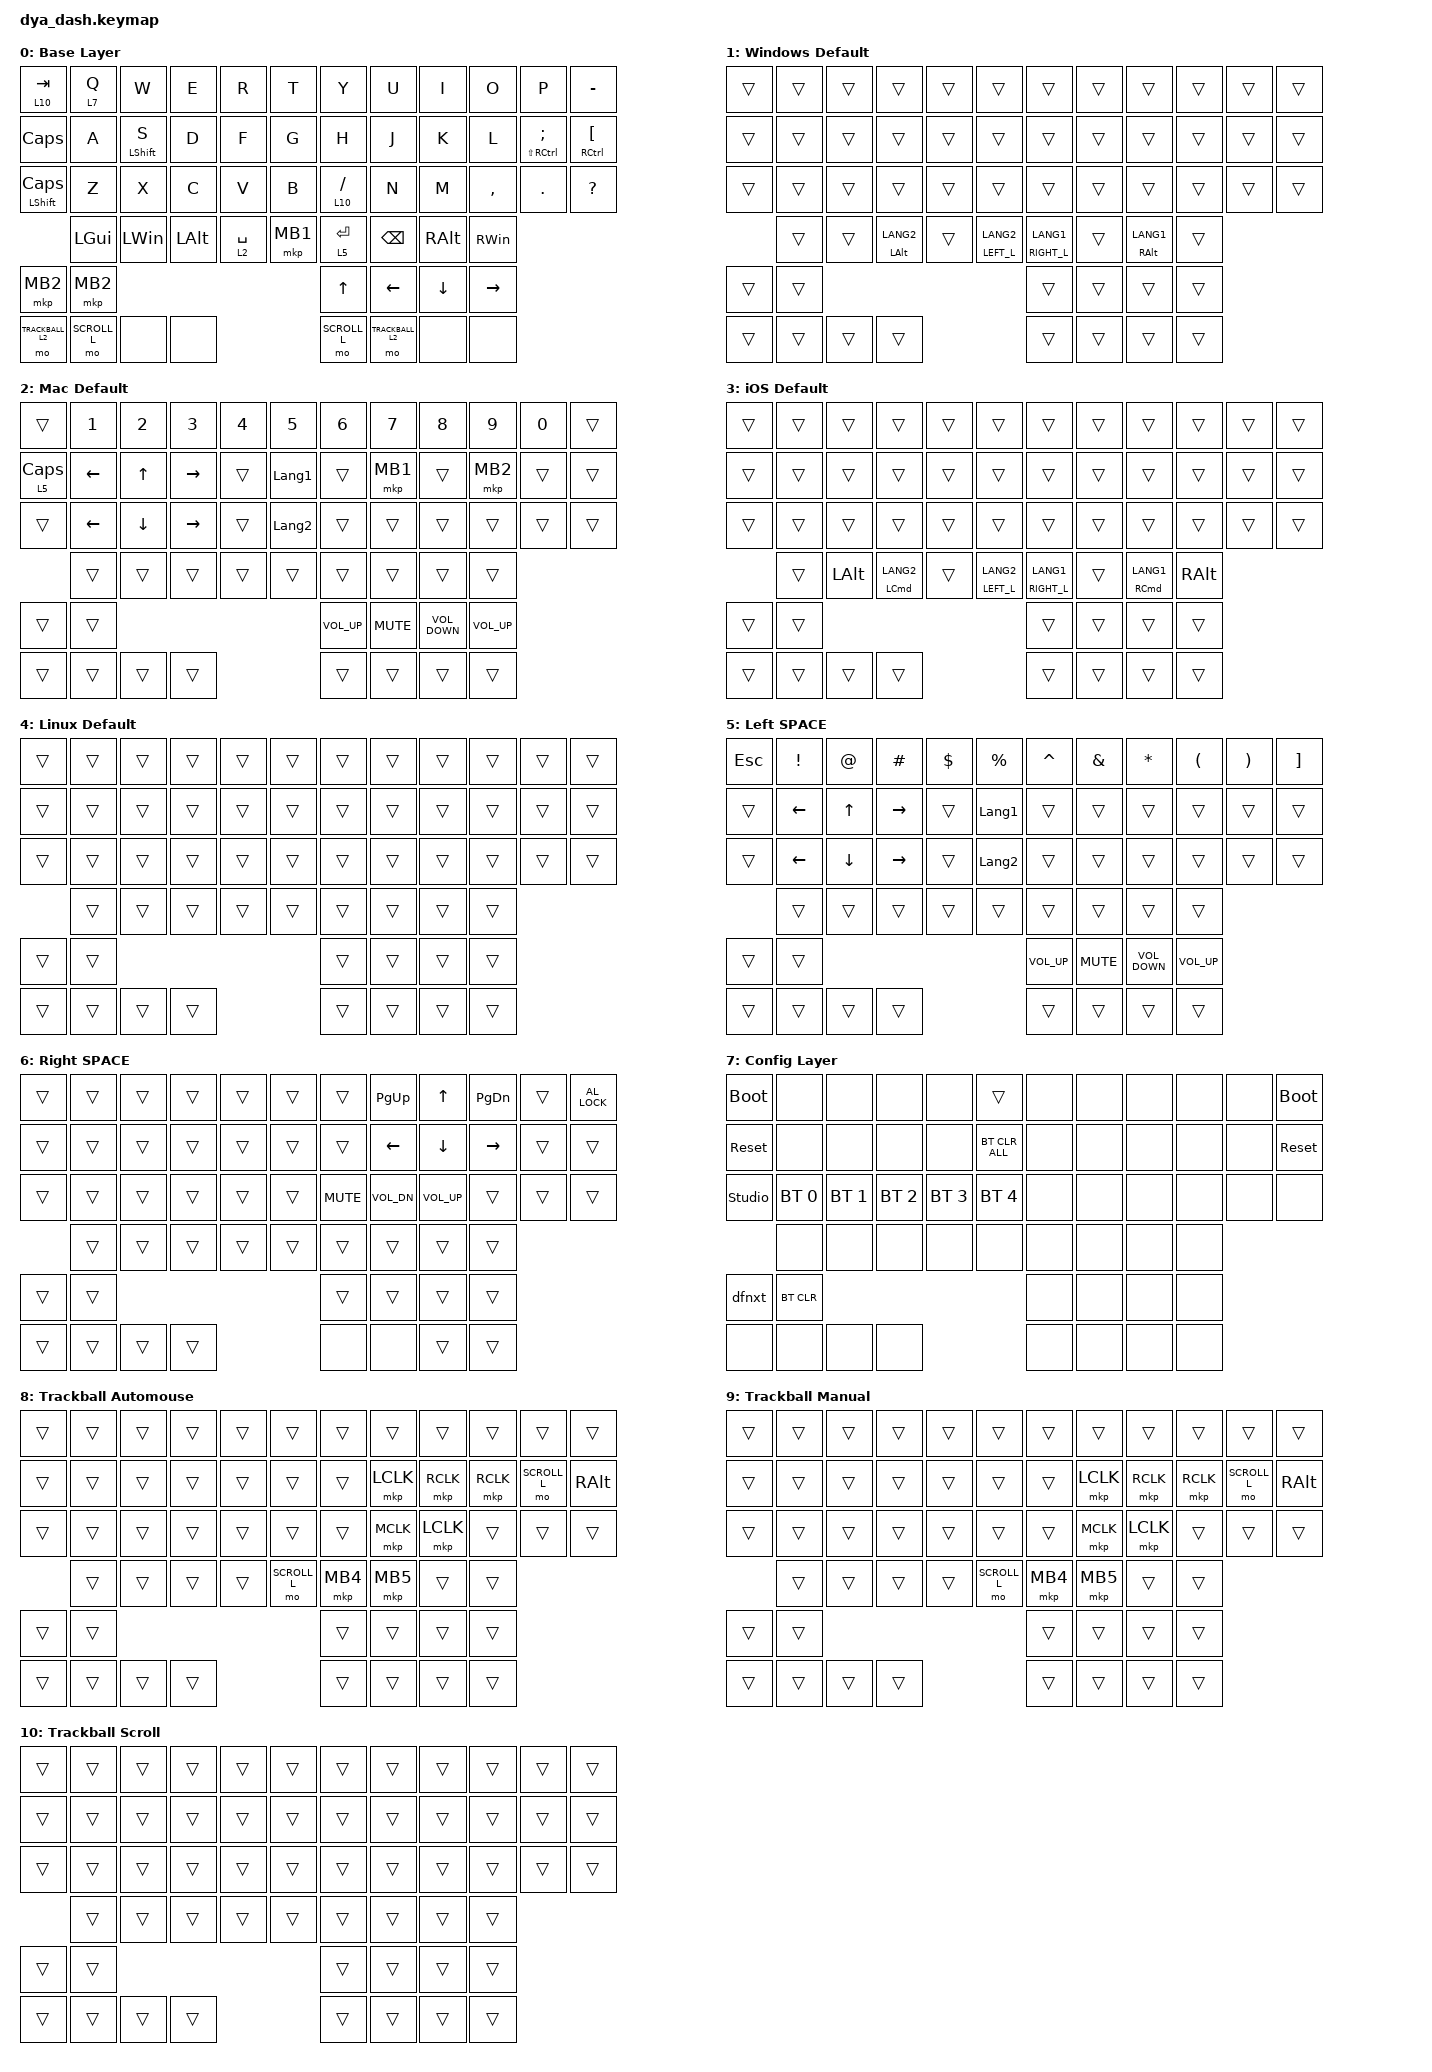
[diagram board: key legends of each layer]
#include <behaviors/mouse_move.dtsi>
#include <behaviors/animation_control.dtsi>
#include <behaviors/animation_trigger.dtsi>
#include <dt-bindings/zmk/mouse.h>
#include <dt-bindings/zmk_driver_animation/animation_control.h>
#include <dt-bindings/zmk_driver_animation/animation_trigger.h>
#include <dt-bindings/zmk_behavior_default_layer/default_layer.h>
#include <behaviors.dtsi>
#include <dt-bindings/zmk/bt.h>
#include <dt-bindings/zmk/keys.h>
#include <dt-bindings/zmk/outputs.h>
#include <dt-bindings/zmk/pointing.h>

#include <behaviors/runtime-input-processor.dtsi>

// Layer definitions

#define DEFAULT_L 0
#define WINDOWS_L 1
#define MAC_L 2
#define IOS_L 3
#define LINUX_L 4
#define LEFT_L 5
#define RIGHT_L 6
#define CONFIG_L 7
#define TRACKBALL_L 8
#define TRACKBALL_L2 9
#define SCROLL_L 10
#define EXT1_L 11
#define EXT2_L 12
#define EXT3_L 13

&mouse_runtime_input_processor {
    temp-layer-enabled;
    temp-layer = <TRACKBALL_L>;
};

&mouse_runtime_input_processor_l {
    temp-layer-enabled;
    temp-layer = <TRACKBALL_L>;
};

&scroll_runtime_input_processor {
    active-layers = <BIT(SCROLL_L)>;
};

&scroll_runtime_input_processor_l {
    active-layers = <BIT(SCROLL_L)>;
};

&trackball_r {cpi = <600>; };
&trackball_l {cpi = <600>; };

/ {
    behaviors {
        // ctrl+h as backspace

        hbackspace: h_or_ctrl_backspace {
            compatible = "zmk,behavior-mod-morph";
            #binding-cells = <0>;
            bindings = <&kp H>, <&kp BACKSPACE>;

            mods = <(MOD_LCTL)>;
        };

        // ctrl+j as enter

        jenter: j_or_ctrl_enter {
            compatible = "zmk,behavior-mod-morph";
            #binding-cells = <0>;
            bindings = <&kp J>, <&kp ENTER>;

            mods = <(MOD_LCTL)>;
        };
    };

    macros {
        // Disconnect from all once for reliable connection to selected profile.
        // ZMK automatically reconnects to current profile right after disconnection.

        out_bt_nxt: out_bt_nxt {
            compatible = "zmk,behavior-macro";
            #binding-cells = <0>;
            wait-ms = <50>;
            bindings = <&out OUT_BLE &bt BT_NXT &bt BT_DISC 0 &bt BT_DISC 1 &bt BT_DISC 2 &bt BT_DISC 3 &bt BT_DISC 4>;
        };

        // Change default layer for current profile to next layer

        dfnxt: dfnxt {
            compatible = "zmk,behavior-macro";
            #binding-cells = <0>;
            bindings = <&df DF_INC &animtrig ANM_TRG 2>;
        };
    };

    combos {
        compatible = "zmk,combos";

        // Right side's setting button shares input pin with arrow keys.
        // It works as a combo of two arrow keys.

        setting_10 {
            timeout-ms = <10>;
            key-positions = <17 16>;
            bindings = <&lt 10 SPACE>;
        };

        setting_r2 {
            timeout-ms = <10>;
            key-positions = <49>;
            bindings = <&kp C_VOL_UP>;
        };
    };

    keymap {
        compatible = "zmk,keymap";

        // template {
        //     bindings = <
        //         &trans      &trans      &trans      &trans      &trans      &trans      /**/ &trans      &trans      &trans      &trans      &trans      &trans
        //         &trans      &trans      &trans      &trans      &trans      &trans      /**/ &trans      &trans      &trans      &trans      &trans      &trans
        //         &trans      &trans      &trans      &trans      &trans      &trans      /**/ &trans      &trans      &trans      &trans      &trans      &trans
        //                     &trans      &trans      &trans      &trans      &trans      /**/ &trans      &trans      &trans      &trans
        //
        //         &trans      &trans                                                      /**/ &trans      &trans      &trans      &trans
        //         &trans      &trans      &trans      &trans                              /**/ &trans      &trans      &trans      &trans
        //     >;
        // };

        default_layer {
            display-name = "Base Layer";

            // --------------------------------------------------------------------------------------------------------------------------------------------------
            // |   TAB   |    Q    |    W    |    E    |    R    |    T       |            |    Y        |    U    |    I     |    O    |    P    |    [    |
            // |   CTRL  |    A    |    S    |    D    |    F    |    G       |            |    H        |    J    |    K     |    L    |    ;    |    '    |
            // |  SHIFT  |    Z    |    X    |    C    |    V    |    B       |            |    B        |    N    |    M     |    ,    |    .    |    /    |
            //           |  CONFIG |   WIN   |   ALT   |  SPACE  | LEFT_LAYER |            | RIGHT_LAYER |  SPACE  |   ALT    |   WIN   |
            // --------------------------------------------------------------------------------------------------------------------------------------------------
            // | BLE     |  USB    |                                                       |  left   | up      | down    | right   |
            // | touch1  | touch2  | touch3  | touch 4 |                                   | touch1  | touch2  | touch3  | touch 4 |

            bindings = <
&lt 10 TAB           &lt 7 Q       &kp W             &kp E     &kp R        &kp T     &kp Y         &kp U             &kp I     &kp O      &kp P                            &kp MINUS
&kp CAPS             &kp A         &mt LEFT_SHIFT S  &kp D     &kp F        &kp G     &kp H         &kp J             &kp K     &kp L      &mt LS(RIGHT_CONTROL) SEMICOLON  &mt RIGHT_CONTROL LEFT_BRACKET
&mt LEFT_SHIFT CLCK  &kp Z         &kp X             &kp C     &kp V        &kp B     &lt 10 SLASH  &kp N             &kp M     &kp COMMA  &kp PERIOD                       &kp QUESTION
                     &kp LGUI      &kp LWIN          &kp LALT  &lt 2 SPACE  &mkp MB1  &lt 5 ENTER   &kp BACKSPACE     &kp RALT  &kp RWIN
&mkp MB2             &mkp MB2                                                         &kp UP        &kp LEFT          &kp DOWN  &kp RIGHT
&mo TRACKBALL_L2     &mo SCROLL_L  &none             &none                            &mo SCROLL_L  &mo TRACKBALL_L2  &none     &none
            >;
        };

        windows_default_layer {
            display-name = "Windows Default";
            bindings = <
&trans  &trans  &trans  &trans          &trans  &trans            &trans             &trans  &trans          &trans  &trans  &trans
&trans  &trans  &trans  &trans          &trans  &trans            &trans             &trans  &trans          &trans  &trans  &trans
&trans  &trans  &trans  &trans          &trans  &trans            &trans             &trans  &trans          &trans  &trans  &trans
        &trans  &trans  &mt LALT LANG2  &trans  &lt LEFT_L LANG2  &lt RIGHT_L LANG1  &trans  &mt RALT LANG1  &trans
&trans  &trans                                                    &trans             &trans  &trans          &trans
&trans  &trans  &trans  &trans                                    &trans             &trans  &trans          &trans
            >;
        };

        mac_default_layer {
            display-name = "Mac Default";
            bindings = <
&trans      &kp NUMBER_1    &kp NUMBER_2  &kp NUMBER_3     &kp NUMBER_4  &kp N5          &kp NUMBER_6     &kp N7      &kp N8             &kp N9           &kp N0  &trans
&lt 5 CLCK  &kp LEFT_ARROW  &kp UP        &kp RIGHT        &trans        &kp LANGUAGE_1  &trans           &mkp MB1    &trans             &mkp MB2         &trans  &trans
&trans      &kp LEFT        &kp DOWN      &kp RIGHT_ARROW  &trans        &kp LANGUAGE_2  &trans           &trans      &trans             &trans           &trans  &trans
            &trans          &trans        &trans           &trans        &trans          &trans           &trans      &trans             &trans
&trans      &trans                                                                       &kp C_VOLUME_UP  &kp K_MUTE  &kp C_VOLUME_DOWN  &kp C_VOLUME_UP
&trans      &trans          &trans        &trans                                         &trans           &trans      &trans             &trans
            >;
        };

        ios_default_layer {
            display-name = "iOS Default";
            bindings = <
&trans  &trans  &trans    &trans          &trans  &trans            &trans             &trans  &trans          &trans    &trans  &trans
&trans  &trans  &trans    &trans          &trans  &trans            &trans             &trans  &trans          &trans    &trans  &trans
&trans  &trans  &trans    &trans          &trans  &trans            &trans             &trans  &trans          &trans    &trans  &trans
        &trans  &kp LALT  &mt LCMD LANG2  &trans  &lt LEFT_L LANG2  &lt RIGHT_L LANG1  &trans  &mt RCMD LANG1  &kp RALT
&trans  &trans                                                      &trans             &trans  &trans          &trans
&trans  &trans  &trans    &trans                                    &trans             &trans  &trans          &trans
            >;
        };

        linux_default_layer {
            display-name = "Linux Default";
            bindings = <
&trans  &trans  &trans  &trans  &trans  &trans  &trans  &trans  &trans  &trans  &trans  &trans
&trans  &trans  &trans  &trans  &trans  &trans  &trans  &trans  &trans  &trans  &trans  &trans
&trans  &trans  &trans  &trans  &trans  &trans  &trans  &trans  &trans  &trans  &trans  &trans
        &trans  &trans  &trans  &trans  &trans  &trans  &trans  &trans  &trans
&trans  &trans                                  &trans  &trans  &trans  &trans
&trans  &trans  &trans  &trans                  &trans  &trans  &trans  &trans
            >;
        };

        left_layer {
            display-name = "Left SPACE";

            // --------------------------------------------------------------------------------------------------------------------------------------------------------------------
            // |  ESC    |  !  |  @  |  #       |  $  |  %       |                           |  ^  |  &      |  *      |  (  |  )  |  ]  |
            // |         |  1  |  2  |  3       |  4  |  5       |                           |  6  |  7      |  8      |  9  |  0  |  \  |
            // |         |     |     |          |     |          |                           |  `  |  -      |  =      |  [  |  ]  |SHIFT|
            //           |     |     |          |     |          |                           |     |         |         |     |

            bindings = <
&kp ESC  &kp EXCL  &kp AT        &kp HASH         &kp DLLR  &kp PRCNT       &kp CARET        &kp AMPS    &kp ASTRK          &kp LPAR         &kp RPAR  &kp RBKT
&trans   &kp LEFT  &kp UP_ARROW  &kp RIGHT        &trans    &kp LANGUAGE_1  &trans           &trans      &trans             &trans           &trans    &trans
&trans   &kp LEFT  &kp DOWN      &kp RIGHT_ARROW  &trans    &kp LANGUAGE_2  &trans           &trans      &trans             &trans           &trans    &trans
         &trans    &trans        &trans           &trans    &trans          &trans           &trans      &trans             &trans
&trans   &trans                                                             &kp C_VOLUME_UP  &kp K_MUTE  &kp K_VOLUME_DOWN  &kp K_VOLUME_UP
&trans   &trans    &trans        &trans                                     &trans           &trans      &trans             &trans
            >;
        };

        right_layer {
            display-name = "Right SPACE";
            bindings = <
&trans  &trans  &trans  &trans  &trans  &trans  &trans      &kp PG_UP     &kp UP        &kp PG_DN  &trans  &kp C_AL_LOCK
&trans  &trans  &trans  &trans  &trans  &trans  &trans      &kp LEFT      &kp DOWN      &kp RIGHT  &trans  &trans
&trans  &trans  &trans  &trans  &trans  &trans  &kp C_MUTE  &kp C_VOL_DN  &kp C_VOL_UP  &trans     &trans  &trans
        &trans  &trans  &trans  &trans  &trans  &trans      &trans        &trans        &trans
&trans  &trans                                  &trans      &trans        &trans        &trans
&trans  &trans  &trans  &trans                  &none       &none         &trans        &trans
            >;
        };

        config_layer {
            display-name = "Config Layer";
            bindings = <
&bootloader     &none         &none         &none         &none         &trans          &none  &none  &none  &none  &none  &bootloader
&sys_reset      &none         &none         &none         &none         &bt BT_CLR_ALL  &none  &none  &none  &none  &none  &sys_reset
&studio_unlock  &bt BT_SEL 0  &bt BT_SEL 1  &bt BT_SEL 2  &bt BT_SEL 3  &bt BT_SEL 4    &none  &none  &none  &none  &none  &none
                &none         &none         &none         &none         &none           &none  &none  &none  &none
&dfnxt          &bt BT_CLR                                                              &none  &none  &none  &none
&none           &none         &none         &none                                       &none  &none  &none  &none
            >;
        };

        trackball_layer {
            display-name = "Trackball Automouse";
            bindings = <
&trans  &trans  &trans  &trans  &trans  &trans        &trans    &trans     &trans     &trans     &trans        &trans
&trans  &trans  &trans  &trans  &trans  &trans        &trans    &mkp LCLK  &mkp RCLK  &mkp RCLK  &mo SCROLL_L  &kp RALT
&trans  &trans  &trans  &trans  &trans  &trans        &trans    &mkp MCLK  &mkp LCLK  &trans     &trans        &trans
        &trans  &trans  &trans  &trans  &mo SCROLL_L  &mkp MB4  &mkp MB5   &trans     &trans
&trans  &trans                                        &trans    &trans     &trans     &trans
&trans  &trans  &trans  &trans                        &trans    &trans     &trans     &trans
            >;
        };

        trackball_layer2 {
            display-name = "Trackball Manual";
            bindings = <
&trans  &trans  &trans  &trans  &trans  &trans        &trans    &trans     &trans     &trans     &trans        &trans
&trans  &trans  &trans  &trans  &trans  &trans        &trans    &mkp LCLK  &mkp RCLK  &mkp RCLK  &mo SCROLL_L  &kp RALT
&trans  &trans  &trans  &trans  &trans  &trans        &trans    &mkp MCLK  &mkp LCLK  &trans     &trans        &trans
        &trans  &trans  &trans  &trans  &mo SCROLL_L  &mkp MB4  &mkp MB5   &trans     &trans
&trans  &trans                                        &trans    &trans     &trans     &trans
&trans  &trans  &trans  &trans                        &trans    &trans     &trans     &trans
            >;
        };

        scroll_layer {
            display-name = "Trackball Scroll";
            bindings = <
&trans  &trans  &trans  &trans  &trans  &trans  &trans  &trans  &trans  &trans  &trans  &trans
&trans  &trans  &trans  &trans  &trans  &trans  &trans  &trans  &trans  &trans  &trans  &trans
&trans  &trans  &trans  &trans  &trans  &trans  &trans  &trans  &trans  &trans  &trans  &trans
        &trans  &trans  &trans  &trans  &trans  &trans  &trans  &trans  &trans
&trans  &trans                                  &trans  &trans  &trans  &trans
&trans  &trans  &trans  &trans                  &trans  &trans  &trans  &trans
            >;
        };

        extra1 { status = "reserved"; };

        extra2 { status = "reserved"; };

        extra3 { status = "reserved"; };
    };
};
